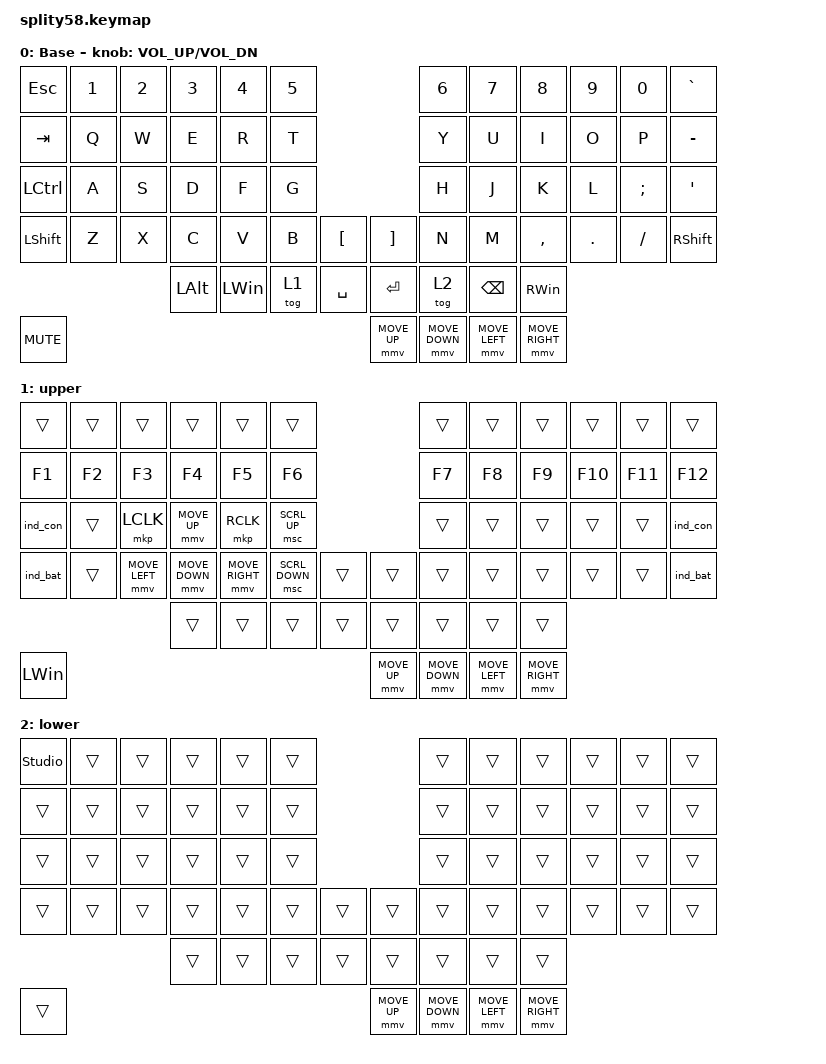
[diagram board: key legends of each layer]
#include <behaviors.dtsi>
#include <dt-bindings/zmk/keys.h>
#include <dt-bindings/zmk/pointing.h>
#include <behaviors/rgbled_widget.dtsi>

/ {
    keymap {
        compatible = "zmk,keymap";

        default_layer {
            display-name = "Base";
            bindings = <
&kp ESC    &kp NUMBER_1  &kp NUMBER_2  &kp NUMBER_3  &kp NUMBER_4  &kp N5                                       &kp NUMBER_6    &kp N7          &kp N8          &kp N9      &kp N0         &kp GRAVE
&kp TAB    &kp Q         &kp W         &kp E         &kp R         &kp T                                        &kp Y           &kp U           &kp I           &kp O       &kp P          &kp MINUS
&kp LCTRL  &kp A         &kp S         &kp D         &kp F         &kp G                                        &kp H           &kp J           &kp K           &kp L       &kp SEMICOLON  &kp SQT
&kp LSHFT  &kp Z         &kp X         &kp C         &kp V         &kp B   &kp LEFT_BRACKET  &kp RIGHT_BRACKET  &kp N           &kp M           &kp COMMA       &kp PERIOD  &kp SLASH      &kp RSHFT
                                       &kp LALT      &kp LWIN      &tog 1  &kp SPACE         &kp ENTER          &tog 2          &kp BACKSPACE   &kp RWIN
&kp K_MUTE                                                                                   &mmv MOVE_UP       &mmv MOVE_DOWN  &mmv MOVE_LEFT  &mmv MOVE_RIGHT
            >;

            sensor-bindings = <&inc_dec_kp C_VOL_UP C_VOL_DN>;
        };

        layer_1 {
            display-name = "upper";
            bindings = <
&trans    &trans  &trans          &trans          &trans           &trans                                   &trans          &trans          &trans          &trans   &trans   &trans
&kp F1    &kp F2  &kp F3          &kp F4          &kp F5           &kp F6                                   &kp F7          &kp F8          &kp F9          &kp F10  &kp F11  &kp F12
&ind_con  &trans  &mkp LCLK       &mmv MOVE_UP    &mkp RCLK        &msc SCRL_UP                             &trans          &trans          &trans          &trans   &trans   &ind_con
&ind_bat  &trans  &mmv MOVE_LEFT  &mmv MOVE_DOWN  &mmv MOVE_RIGHT  &msc SCRL_DOWN  &trans  &trans           &trans          &trans          &trans          &trans   &trans   &ind_bat
                                  &trans          &trans           &trans          &trans  &trans           &trans          &trans          &trans
&kp LWIN                                                                                   &mmv MOVE_UP     &mmv MOVE_DOWN  &mmv MOVE_LEFT  &mmv MOVE_RIGHT
            >;
        };

        layer_2 {
            display-name = "lower";
            bindings = <
&studio_unlock  &trans  &trans  &trans  &trans  &trans                          &trans          &trans          &trans  &trans  &trans  &trans
&trans          &trans  &trans  &trans  &trans  &trans                          &trans          &trans          &trans  &trans  &trans  &trans
&trans          &trans  &trans  &trans  &trans  &trans                          &trans          &trans          &trans  &trans  &trans  &trans
&trans          &trans  &trans  &trans  &trans  &trans  &trans  &trans          &trans          &trans          &trans  &trans  &trans  &trans
                        &trans  &trans  &trans  &trans  &trans  &trans          &trans          &trans
&trans                                                          &mmv MOVE_UP    &mmv MOVE_DOWN  &mmv MOVE_LEFT  &mmv MOVE_RIGHT
            >;
        };
    };
};
